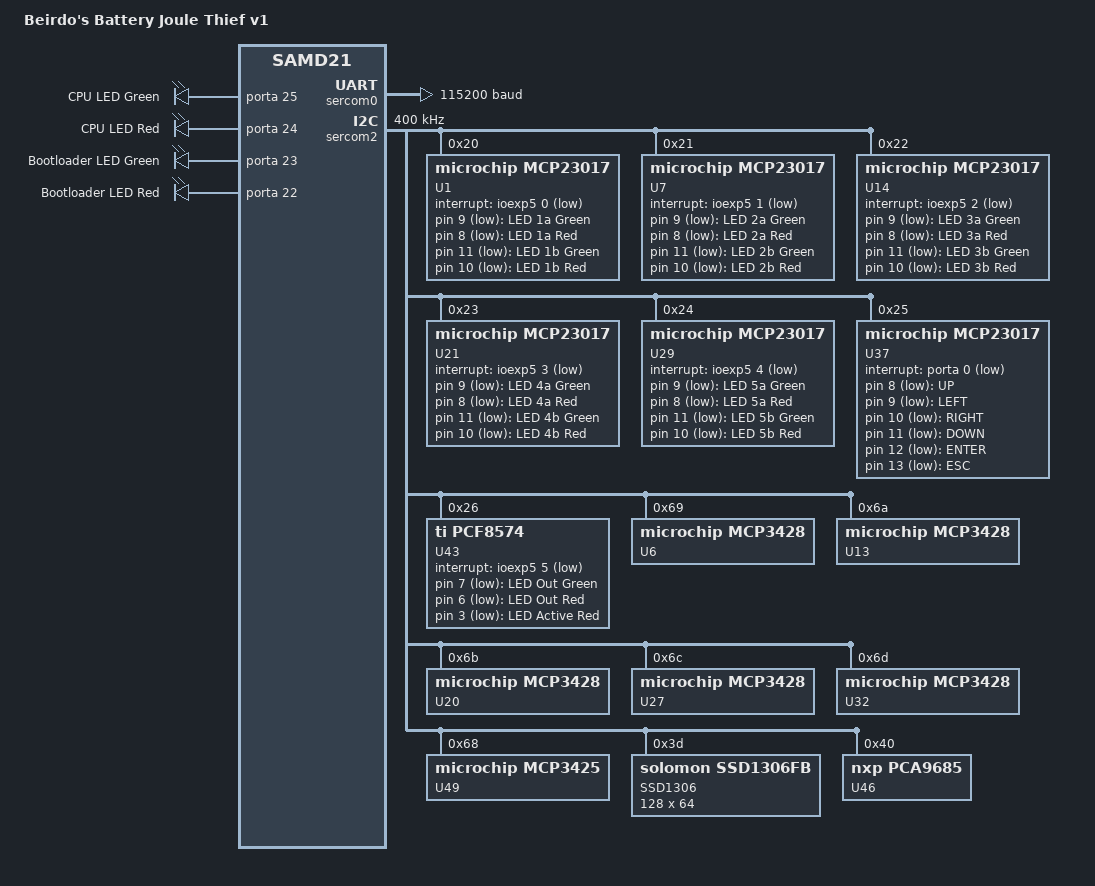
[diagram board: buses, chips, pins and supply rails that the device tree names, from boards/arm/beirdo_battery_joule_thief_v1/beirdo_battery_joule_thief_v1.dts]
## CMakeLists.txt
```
# SPDX-License-Identifier: Apache-2.0

set(BOARD beirdo_battery_joule_thief_v1)
set(ZEPHYR_EXTRA_MODULES ${CMAKE_SOURCE_DIR}/lib/zephyr-adafruit-ssd1306)

cmake_minimum_required(VERSION 3.13.1)
set(BOARD_ROOT ${CMAKE_CURRENT_LIST_DIR})
find_package(Zephyr REQUIRED HINTS $ENV{ZEPHYR_BASE})

project(beirdo-battery-joule-thief-v1-app)

include_directories(BEFORE SYSTEM include)

# Add your source file to the "app" target. This must come after
# find_package(Zephyr) which defines the target.

target_sources(app PRIVATE src/main.c)
target_sources(app PRIVATE src/gpios.c)
target_sources(app PRIVATE src/adcs.c)
target_sources(app PRIVATE src/charge-counters.c)
target_sources(app PRIVATE src/input-batteries.c)
target_sources(app PRIVATE src/charger.c)
target_sources(app PRIVATE src/display.c)
```

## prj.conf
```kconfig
CONFIG_BOARD_BEIRDO_BATTERY_JOULE_THIEF_V1=y
CONFIG_ADAFRUIT_SSD1306=y
CONFIG_SSD1306_ENABLE_CHARGE_PUMP=y
```

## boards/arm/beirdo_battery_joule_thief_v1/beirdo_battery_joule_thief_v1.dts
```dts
/*
 * Copyright (c) 2020 Gavin Hurlbut
 * SPDX-License-Identifier: Apache-2.0
 */

/dts-v1/;
#include <atmel/samd21.dtsi>

/ {
	model = "Beirdo's Battery Joule Thief v1";
	compatible = "beirdo,battery_joule_thief_v1", "atmel,samd21e16a", "atmel,samd21";

	chosen {
		zephyr,console = &sercom0;
		zephyr,shell-uart = &sercom0;
		zephyr,sram = &sram0;
		zephyr,flash = &flash0;
	};

	aliases {
		i2c-0 = &sercom2;
		led0 = &ledcpu;
	};

	leds {
		compatible = "gpio-leds";
		
		led_1ag {
			gpios = <&ioexp0 9 GPIO_ACTIVE_LOW>;
			label = "LED 1a Green";
		};

		led_1ar {
			gpios = <&ioexp0 8 GPIO_ACTIVE_LOW>;
			label = "LED 1a Red";
		};

		led_1bg {
			gpios = <&ioexp0 11 GPIO_ACTIVE_LOW>;
			label = "LED 1b Green";
		};

		led_1br {
			gpios = <&ioexp0 10 GPIO_ACTIVE_LOW>;
			label = "LED 1b Red";
		};

	
		led_2ag {
			gpios = <&ioexp1 9 GPIO_ACTIVE_LOW>;
			label = "LED 2a Green";
		};

		led_2ar {
			gpios = <&ioexp1 8 GPIO_ACTIVE_LOW>;
			label = "LED 2a Red";
		};

		led_2bg {
			gpios = <&ioexp1 11 GPIO_ACTIVE_LOW>;
			label = "LED 2b Green";
		};

		led_2br {
			gpios = <&ioexp1 10 GPIO_ACTIVE_LOW>;
			label = "LED 2b Red";
		};


		led_3ag {
			gpios = <&ioexp2 9 GPIO_ACTIVE_LOW>;
			label = "LED 3a Green";
		};

		led_3ar {
			gpios = <&ioexp2 8 GPIO_ACTIVE_LOW>;
			label = "LED 3a Red";
		};

		led_3bg {
			gpios = <&ioexp2 11 GPIO_ACTIVE_LOW>;
			label = "LED 3b Green";
		};

		led_3br {
			gpios = <&ioexp2 10 GPIO_ACTIVE_LOW>;
			label = "LED 3b Red";
		};

		
		led_4ag {
			gpios = <&ioexp3 9 GPIO_ACTIVE_LOW>;
			label = "LED 4a Green";
		};

		led_4ar {
			gpios = <&ioexp3 8 GPIO_ACTIVE_LOW>;
			label = "LED 4a Red";
		};

		led_4bg {
			gpios = <&ioexp3 11 GPIO_ACTIVE_LOW>;
			label = "LED 4b Green";
		};

		led_4br {
			gpios = <&ioexp3 10 GPIO_ACTIVE_LOW>;
			label = "LED 4b Red";
		};

		
		led_5ag {
			gpios = <&ioexp4 9 GPIO_ACTIVE_LOW>;
			label = "LED 5a Green";
		};

		led_5ar {
			gpios = <&ioexp4 8 GPIO_ACTIVE_LOW>;
			label = "LED 5a Red";
		};

		led_5bg {
			gpios = <&ioexp4 11 GPIO_ACTIVE_LOW>;
			label = "LED 5b Green";
		};

		led_5br {
			gpios = <&ioexp4 10 GPIO_ACTIVE_LOW>;
			label = "LED 5b Red";
		};


		led_og {
			gpios = <&ioexp6 7 GPIO_ACTIVE_LOW>;
			label = "LED Out Green";
		};

		led_or {
			gpios = <&ioexp6 6 GPIO_ACTIVE_LOW>;
			label = "LED Out Red";
		};
		
		led_active {
			gpios = <&ioexp6 3 GPIO_ACTIVE_LOW>;
			label = "LED Active Red";
		};
		
		ledcpu: led_cpug {
			gpios = <&porta 25 GPIO_ACTIVE_HIGH>;
			label = "CPU LED Green";
		};

		led_cpur {
			gpios = <&porta 24 GPIO_ACTIVE_HIGH>;
			label = "CPU LED Red";
		};

		led_bootg {
			gpios = <&porta 23 GPIO_ACTIVE_HIGH>;
			label = "Bootloader LED Green";
		};

		led_bootr {
			gpios = <&porta 22 GPIO_ACTIVE_HIGH>;
			label = "Bootloader LED Red";
		};


	};

	buttons {
		compatible = "gpio-keys";
		
		button_up {
			gpios = <&ioexp5 8 (GPIO_PULL_UP | GPIO_ACTIVE_LOW)>;
			label = "UP";
		};

		button_left {
			gpios = <&ioexp5 9 (GPIO_PULL_UP | GPIO_ACTIVE_LOW)>;
			label = "LEFT";
		};

		button_right {
			gpios = <&ioexp5 10 (GPIO_PULL_UP | GPIO_ACTIVE_LOW)>;
			label = "RIGHT";
		};

		button_down {
			gpios = <&ioexp5 11 (GPIO_PULL_UP | GPIO_ACTIVE_LOW)>;
			label = "DOWN";
		};

		button_enter {
			gpios = <&ioexp5 12 (GPIO_PULL_UP | GPIO_ACTIVE_LOW)>;
			label = "ENTER";
		};

		button_esc {
			gpios = <&ioexp5 13 (GPIO_PULL_UP | GPIO_ACTIVE_LOW)>;
			label = "ESC";
		};

	};
};

&cpu0 {
	clock-frequency = <48000000>;
};

&sram0 {
	reg = <0x20000000 0x4000>;
};

&flash0 {
	reg = <0 0x20000>;
};


&sercom0 {
        status = "okay";
        compatible = "atmel,sam0-uart";
        current-speed = <115200>;
        rxpo = <1>;
        txpo = <0>;
        hw-flow-control;
};

&sercom2 {
	status = "okay";
	compatible = "atmel,sam0-i2c";
	clock-frequency = <I2C_BITRATE_FAST>;
	#address-cells = <1>;
	#size-cells = <0>;
	
	ioexp0: mcp23017@20 {
		status = "okay";
		compatible = "microchip,mcp23017";
		label = "U1";
		reg = <0x20>;
		gpio-controller;
		#gpio-cells = <2>;
		interrupt-gpios = <&ioexp5 0 GPIO_ACTIVE_LOW>;
		ngpios = <16>;
		gpio-reserved-ranges = <4 4>, <14 2>;
	};

	ioexp1: mcp23017@21 {
		status = "okay";
		compatible = "microchip,mcp23017";
		label = "U7";
		reg = <0x21>;
		gpio-controller;
		#gpio-cells = <2>;
		interrupt-gpios = <&ioexp5 1 GPIO_ACTIVE_LOW>;
		ngpios = <16>;
		gpio-reserved-ranges = <4 4>, <14 2>;
	};

	ioexp2: mcp23017@22 {
		status = "okay";
		compatible = "microchip,mcp23017";
		label = "U14";
		reg = <0x22>;
		gpio-controller;
		#gpio-cells = <2>;
		interrupt-gpios = <&ioexp5 2 GPIO_ACTIVE_LOW>;
		ngpios = <16>;
		gpio-reserved-ranges = <4 4>, <14 2>;
	};

	ioexp3: mcp23017@23 {
		status = "okay";
		compatible = "microchip,mcp23017";
		label = "U21";
		reg = <0x23>;
		gpio-controller;
		#gpio-cells = <2>;
		interrupt-gpios = <&ioexp5 3 GPIO_ACTIVE_LOW>;
		ngpios = <16>;
		gpio-reserved-ranges = <4 4>, <14 2>;
	};

	ioexp4: mcp23017@24 {
		status = "okay";
		compatible = "microchip,mcp23017";
		label = "U29";
		reg = <0x24>;
		gpio-controller;
		#gpio-cells = <2>;
		interrupt-gpios = <&ioexp5 4 GPIO_ACTIVE_LOW>;
		ngpios = <16>;
		gpio-reserved-ranges = <4 4>, <14 2>;
	};

	ioexp5: mcp23017@25 {
		status = "okay";
		compatible = "microchip,mcp23017";
		label = "U37";
		reg = <0x25>;
		gpio-controller;
		#gpio-cells = <2>;
		interrupt-gpios = <&porta 0 GPIO_ACTIVE_LOW>;
		ngpios = <16>;
		gpio-reserved-ranges = <6 2>, <14 2>;
	};

	ioexp6: pcf8574@26 {
		status = "okay";
		compatible = "ti,pcf8574";
		label = "U43";
		reg = <0x26>;
		gpio-controller;
		#gpio-cells = <2>;
		interrupt-gpios = <&ioexp5 5 GPIO_ACTIVE_LOW>;
		ngpios = <8>;
	};

	adc0: mcp3428@69 {
		status = "okay";
		label = "U6";
		compatible = "microchip,mcp3428";
		#io-channel-cells = <1>;
		reg = <0x69>;
	};
	
	adc1: mcp3428@6a {
		status = "okay";
		label = "U13";
		compatible = "microchip,mcp3428";
		#io-channel-cells = <1>;
		reg = <0x6a>;
	};
	
	adc2: mcp3428@6b {
		status = "okay";
		label = "U20";
		compatible = "microchip,mcp3428";
		#io-channel-cells = <1>;
		reg = <0x6b>;
	};
	
	adc3: mcp3428@6c {
		status = "okay";
		label = "U27";
		compatible = "microchip,mcp3428";
		#io-channel-cells = <1>;
		reg = <0x6c>;
	};
	
	adc4: mcp3428@6d {
		status = "okay";
		label = "U32";
		compatible = "microchip,mcp3428";
		#io-channel-cells = <1>;
		reg = <0x6d>;
	};
	
	adc5: mcp3425@68 {
		status = "okay";
		label = "U49";
		compatible = "microchip,mcp3425";
		#io-channel-cells = <1>;
		reg = <0x68>;
	};
	
	display: ssd1306@3d {
		status = "okay";
		compatible = "solomon,ssd1306fb";
		reg = <0x3d>;
        label = "SSD1306";
	    width = <128>;
        height = <64>;
        segment-offset = <2>;
        page-offset = <0>;
        display-offset = <0>;
        multiplex-ratio = <63>;
        segment-remap;
        com-invdir;
        prechargep = <0x22>;
	};
	
	pwm: pca9685@40 {
		status = "okay";
		compatible = "nxp,pca9685";
		reg = <0x40>;
		label = "U46";
		prescaler = < 0x05 >;	/* approx 1kHz period */
		#pwm-cells = <2>;
	};
};
```

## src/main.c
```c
/*
 * Copyright (c) 2020 Gavin Hurlbut
 *
 * SPDX-License-Identifier: Apache-2.0
 */

#include <zephyr.h>
#include <kernel.h>

#include "app-gpios.h"
#include "app-adcs.h"
#include "app-charge-counters.h"
#include "app-input-batteries.h"
#include "app-charger.h"
#include "app-display.h"


bool initialized;
bool cpu_led_on;
struct k_delayed_work led_pulse_worker;

void main_failed(void);
void led_pulse_start(void);
static void led_pulse(struct k_work *work);

void main(void)
{
    int ret;
    
    initialized = false;

    ret = gpios_init();
    if (ret != 0) {
        return main_failed();
    }

    /* Turn off the LEDs from the bootloader */
    write_io_pin(LEDBootG, false);
    write_io_pin(LEDBootR, false);
    
    /* Turn on the LED for the CPU */
    cpu_led_on = true;
    write_io_pin(LEDCPUg, true);
    write_io_pin(LEDCPUr, false);

    ret = adcs_init();
    if (ret != 0) {
        return main_failed();
    }
    
    ret = charge_counters_init();
    if (ret != 0) {
        return main_failed();
    }
    
    ret = input_batteries_init();
    if (ret != 0) {
        return main_failed();
    }
    
    ret = charger_init();
    if (ret != 0) {
        return main_failed();
    }

    ret = display_init();
    if (ret != 0) {
        return main_failed();
    }

    initialized = true;
    
    /* Start the CPU LED pulsing */
    led_pulse_start();

    /* Start ADC readings once a second (it reschedules itself) */
    adcs_start();
    
    /* Start the charge counters - once a second, reschedules itself */
    charge_counters_start();

    /* Start the display update work item (it gets scheduled by buttons or 
     * ADC complete) 
     */
    display_start();

    /* Start loop */
    while (1) {
        /* Check if batteries are depleted, disable those that are */
        
        /* If the enables have changed, reprogram the PWM phases */
        
        /* Sleep for 100ms */
        k_msleep(100);
    }
}

void main_failed(void)
{
    write_io_pin(LEDCPUg, false);
    write_io_pin(LEDCPUr, true);
}

static void led_pulse(struct k_work *work)
{
    if (initialized) {
        cpu_led_on = !cpu_led_on;
        write_io_pin(LEDCPUg, cpu_led_on);
        write_io_pin(LEDCPUr, false);
        k_delayed_work_submit(&led_pulse_worker, K_MSEC(500));
    }
}


void led_pulse_start(void)
{
	k_delayed_work_init(&led_pulse_worker, led_pulse);
    k_delayed_work_submit(&led_pulse_worker, K_MSEC(500));
}
```

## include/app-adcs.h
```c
/*
 * Copyright (c) 2020 Gavin Hurlbut
 *
 * SPDX-License-Identifier: Apache-2.0
 */

#ifndef __app_adcs_h_
#define __app_adcs_h_

#include <zephyr.h>

#include <zephyr.h>
#include <device.h>
#include <devicetree.h>
#include <drivers/adc.h>
#include <kernel.h>


struct adc_inputs_t {
    char *name;
    uint16_t raw_value;
    uint16_t value_mv;
    uint16_t reference_mv;
    struct device **pdev;
    struct adc_channel_cfg config;
};

#define FOR_ALL_ADCS(preamble, x, postamble)    \
preamble                                        \
    x(VBATT1a, adc[0], 0, 2048)                 \
    x(VBATT1b, adc[0], 1, 2048)                 \
    x(VOUT1, adc[0], 2, 5059)                   \
                                                \
    x(VBATT2a, adc[1], 0, 2048)                 \
    x(VBATT2b, adc[1], 1, 3480)                 \
    x(VOUT2, adc[1], 2, 5059)                   \
                                                \
    x(VBATT3a, adc[2], 0, 2048)                 \
    x(VBATT3b, adc[2], 1, 3480)                 \
    x(VOUT3, adc[2], 2, 5059)                   \
                                                \
    x(VBATT4a, adc[3], 0, 2048)                 \
    x(VBATT4b, adc[3], 1, 3480)                 \
    x(VOUT4, adc[3], 2, 5059)                   \
                                                \
    x(VBATT5a, adc[4], 0, 12268)                \
    x(VBATT5b, adc[4], 1, 12268)                \
    x(VOUT5, adc[4], 2, 5059)                   \
                                                \
    x(VOUT, adc[5], 0, 5059)                    \
postamble


#define ADC_ENUM(label, ...) label,

FOR_ALL_ADCS(enum adc_input_names_t {, ADC_ENUM, };)


extern struct adc_inputs_t adc_inputs[];
extern uint16_t adc_input_count;

int adcs_init(void);
void adcs_start(void);


#endif /* __app_adcs_h_ */
```

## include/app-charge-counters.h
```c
/*
 * Copyright (c) 2020 Gavin Hurlbut
 *
 * SPDX-License-Identifier: Apache-2.0
 */

#ifndef __app_charge_counters_h_
#define __app_charge_counters_h_

#include <zephyr.h>
#include <kernel.h>
#include "app-gpios.h"
#include "app-devices.h"

struct charge_counter_t {
    int32_t raw_count;
    int32_t mAh;
    uint64_t start_time;
    enum io_names_t polarity;
    enum io_names_t interrupt;
    enum io_names_t shutdown;
    struct k_delayed_work worker;
};


int charge_counters_init(void);
void charge_counters_start(void);

extern struct charge_counter_t charge_counter[CHARGE_COUNTER_COUNT];


#endif /* __app_charge_counters_h_ */
```

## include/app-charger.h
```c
/*
 * Copyright (c) 2020 Gavin Hurlbut
 *
 * SPDX-License-Identifier: Apache-2.0
 */

#ifndef __app_charger_h_
#define __app_charger_h_

#include <zephyr.h>

int charger_init(void);
uint8_t approximate_output_battery_level(void);
bool charger_enabled(void);
void charger_set_enabled(bool enabled);

#endif /* __app_charger_h_ */
```

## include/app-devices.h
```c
/*
 * Copyright (c) 2020 Gavin Hurlbut
 *
 * SPDX-License-Identifier: Apache-2.0
 */

#ifndef __app_devices_h_
#define __app_devices_h_

#include <zephyr.h>
#include <device.h>

#define IOEXP_COUNT 7
#define ADC_COUNT   6
#define CHARGE_COUNTER_COUNT    6

extern const struct device *porta;
extern const struct device *ioexp[IOEXP_COUNT];
extern const struct device *adc[ADC_COUNT];
extern const struct device *display;
extern const struct device *pwm;

#endif /* __app_devices_h_ */
```

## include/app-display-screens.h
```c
/*
 * Copyright (c) 2020 Gavin Hurlbut
 *
 * SPDX-License-Identifier: Apache-2.0
 */

#ifndef __app_display_screens_h_
#define __app_display_screens_h_

typedef uint8_t *(*item_dynamic)(int);

struct display_menu_item_t {
    int x;
    int y;
    int w;
    int size;
    item_dynamic text;
};

typedef void (*menu_action)(int);

struct display_menu_t {
    menu_action display_menu;
    const struct display_menu_item_t *items;
    int item_count;
    menu_action up;
    menu_action left;
    menu_action right;
    menu_action down;
    menu_action enter;
};

struct display_menu_ram_t {
    int index_top;
    int index_current;
};

struct display_item_t {
    int x;
    int y;
    int size;
    uint8_t *static_text;
    item_dynamic dynamic_text;
};

struct display_page_t {
    bool display_logo;
    const struct display_menu_t *menu;
    const struct display_item_t *items;
    int item_count;
    int index_esc;
    int index_up;
    int index_left;
    int index_right;
    int index_down;
    int index_enter;
    int index_menu;
};

#endif /* __app_display_screens_h_ */
```

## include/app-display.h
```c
/*
 * Copyright (c) 2020 Gavin Hurlbut
 *
 * SPDX-License-Identifier: Apache-2.0
 */

#ifndef __app_display_h_
#define __app_display_h_

#include <zephyr.h>

int display_init(void);
void display_start(void);

#endif /* __app_display_h_ */
```

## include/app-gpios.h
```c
/*
 * Copyright (c) 2020 Gavin Hurlbut
 *
 * SPDX-License-Identifier: Apache-2.0
 */

#ifndef __app_gpios_h_
#define __app_gpios_h_

#include <zephyr.h>
#include <device.h>
#include <devicetree.h>
#include <drivers/gpio.h>
#include <kernel.h>


struct io_pins_t {
    char *name;
    bool value;
    struct device **pdev;
    int pin;
    uint32_t io_flags;
    bool is_active_low;
    uint32_t interrupt_flags;
    struct gpio_callback callback;
    gpio_callback_handler_t handler;
    uint64_t expiry;
};



#define FOR_ALL_IOS(preamble, x, postamble)                                 \
preamble                                                                    \
    x(EXT_nINT, porta, 0, GPIO_INPUT, true, 0, GPIO_INT_EDGE_FALLING)       \
    x(nOE, porta, 1, GPIO_OUTPUT_HIGH, true, 0, 0x00)                       \
    x(LEDBootR, porta, 23, GPIO_OUTPUT_ACTIVE, false, 0, 0x00)              \
    x(LEDBootG, porta, 22, GPIO_OUTPUT_ACTIVE, false, 0, 0x00)              \
    x(LEDCPUg, porta, 25, GPIO_OUTPUT_ACTIVE, false, 0, 0x00)               \
    x(LEDCPUr, porta, 24, GPIO_OUTPUT_ACTIVE, false, 0, 0x00)               \
                                                                            \
    x(nSD1, ioexp[0], 0, GPIO_OUTPUT_HIGH, true, 0, 0x00)                   \
    x(INT1, ioexp[0], 1, GPIO_INPUT, true, 1, GPIO_INT_EDGE_FALLING)        \
    x(POL1, ioexp[0], 2, GPIO_INPUT, false, 0, 0x00)                        \
    x(PWRGD1, ioexp[0], 3, GPIO_INPUT, false, 1, GPIO_INT_EDGE_BOTH)        \
    x(LED1ar, ioexp[0], 8, GPIO_OUTPUT_ACTIVE, false, 0, 0x00)              \
    x(LED1ag, ioexp[0], 9, GPIO_OUTPUT_ACTIVE, false, 0, 0x00)              \
    x(LED1br, ioexp[0], 10, GPIO_OUTPUT_ACTIVE, false, 0, 0x00)             \
    x(LED1bg, ioexp[0], 11, GPIO_OUTPUT_ACTIVE, false, 0, 0x00)             \
    x(BATSEL1a, ioexp[0], 12, GPIO_OUTPUT_ACTIVE, false, 0, 0x00)           \
    x(BATSEL1b, ioexp[0], 13, GPIO_OUTPUT_ACTIVE, false, 0, 0x00)           \
                                                                            \
    x(nSD2, ioexp[1], 0, GPIO_OUTPUT_HIGH, true, 0, 0x00)                   \
    x(INT2, ioexp[1], 1, GPIO_INPUT, true, 1, GPIO_INT_EDGE_FALLING)        \
    x(POL2, ioexp[1], 2, GPIO_INPUT, false, 0, 0x00)                        \
    x(PWRGD2, ioexp[1], 3, GPIO_INPUT, false, 1, GPIO_INT_EDGE_BOTH)        \
    x(LED2ar, ioexp[1], 8, GPIO_OUTPUT_ACTIVE, false, 0, 0x00)              \
    x(LED2ag, ioexp[1], 9, GPIO_OUTPUT_ACTIVE, false, 0, 0x00)              \
    x(LED2br, ioexp[1], 10, GPIO_OUTPUT_ACTIVE, false, 0, 0x00)             \
    x(LED2bg, ioexp[1], 11, GPIO_OUTPUT_ACTIVE, false, 0, 0x00)             \
    x(BATSEL2a, ioexp[1], 12, GPIO_OUTPUT_ACTIVE, false, 0, 0x00)           \
    x(BATSEL2b, ioexp[1], 13, GPIO_OUTPUT_ACTIVE, false, 0, 0x00)           \
                                                                            \
    x(nSD3, ioexp[2], 0, GPIO_OUTPUT_HIGH, true, 0, 0x00)                   \
    x(INT3, ioexp[2], 1, GPIO_INPUT, true, 1, GPIO_INT_EDGE_FALLING)        \
    x(POL3, ioexp[2], 2, GPIO_INPUT, false, 0, 0x00)                        \
    x(PWRGD3, ioexp[2], 3, GPIO_INPUT, false, 1, GPIO_INT_EDGE_BOTH)        \
    x(LED3ar, ioexp[2], 8, GPIO_OUTPUT_ACTIVE, false, 0, 0x00)              \
    x(LED3ag, ioexp[2], 9, GPIO_OUTPUT_ACTIVE, false, 0, 0x00)              \
    x(LED3br, ioexp[2], 10, GPIO_OUTPUT_ACTIVE, false, 0, 0x00)             \
    x(LED3bg, ioexp[2], 11, GPIO_OUTPUT_ACTIVE, false, 0, 0x00)             \
    x(BATSEL3a, ioexp[2], 12, GPIO_OUTPUT_ACTIVE, false, 0, 0x00)           \
    x(BATSEL3b, ioexp[2], 13, GPIO_OUTPUT_ACTIVE, false, 0, 0x00)           \
                                                                            \
    x(nSD4, ioexp[3], 0, GPIO_OUTPUT_HIGH, true, 0, 0x00)                   \
    x(INT4, ioexp[3], 1, GPIO_INPUT, true, 1, GPIO_INT_EDGE_FALLING)        \
    x(POL4, ioexp[3], 2, GPIO_INPUT, false, 0, 0x00)                        \
    x(PWRGD4, ioexp[3], 3, GPIO_INPUT, false, 1, GPIO_INT_EDGE_BOTH)        \
    x(LED4ar, ioexp[3], 8, GPIO_OUTPUT_ACTIVE, false, 0, 0x00)              \
    x(LED4ag, ioexp[3], 9, GPIO_OUTPUT_ACTIVE, false, 0, 0x00)              \
    x(LED4br, ioexp[3], 10, GPIO_OUTPUT_ACTIVE, false, 0, 0x00)             \
    x(LED4bg, ioexp[3], 11, GPIO_OUTPUT_ACTIVE, false, 0, 0x00)             \
    x(BATSEL4a, ioexp[3], 12, GPIO_OUTPUT_ACTIVE, false, 0, 0x00)           \
    x(BATSEL4b, ioexp[3], 13, GPIO_OUTPUT_ACTIVE, false, 0, 0x00)           \
                                                                            \
    x(nSD5, ioexp[4], 0, GPIO_OUTPUT_HIGH, true, 0, 0x00)                   \
    x(INT5, ioexp[4], 1, GPIO_INPUT, true, 1, GPIO_INT_EDGE_FALLING)        \
    x(POL5, ioexp[4], 2, GPIO_INPUT, false, 0, 0x00)                        \
    x(PWRGD5, ioexp[4], 3, GPIO_INPUT, false, 1, GPIO_INT_EDGE_BOTH)        \
    x(LED5ar, ioexp[4], 8, GPIO_OUTPUT_ACTIVE, false, 0, 0x00)              \
    x(LED5ag, ioexp[4], 9, GPIO_OUTPUT_ACTIVE, false, 0, 0x00)              \
    x(LED5br, ioexp[4], 10, GPIO_OUTPUT_ACTIVE, false, 0, 0x00)             \
    x(LED5bg, ioexp[4], 11, GPIO_OUTPUT_ACTIVE, false, 0, 0x00)             \
    x(BATSEL5a, ioexp[4], 12, GPIO_OUTPUT_ACTIVE, false, 0, 0x00)           \
    x(BATSEL5b, ioexp[4], 13, GPIO_OUTPUT_ACTIVE, false, 0, 0x00)           \
                                                                            \
    x(BATT1_INT, ioexp[5], 0, GPIO_INPUT, true, 0, GPIO_INT_EDGE_FALLING)   \
    x(BATT2_INT, ioexp[5], 1, GPIO_INPUT, true, 0, GPIO_INT_EDGE_FALLING)   \
    x(BATT3_INT, ioexp[5], 2, GPIO_INPUT, true, 0, GPIO_INT_EDGE_FALLING)   \
    x(BATT4_INT, ioexp[5], 3, GPIO_INPUT, true, 0, GPIO_INT_EDGE_FALLING)   \
    x(BATT5_INT, ioexp[5], 4, GPIO_INPUT, true, 0, GPIO_INT_EDGE_FALLING)   \
    x(OUT_INT, ioexp[5], 5, GPIO_INPUT, true, 0, GPIO_INT_EDGE_FALLING)     \
    x(UP, ioexp[5], 8, GPIO_INPUT, true, 1, GPIO_INT_EDGE_FALLING)          \
    x(LEFT, ioexp[5], 9, GPIO_INPUT, true, 1, GPIO_INT_EDGE_FALLING)        \
    x(RIGHT, ioexp[5], 10, GPIO_INPUT, true, 1, GPIO_INT_EDGE_FALLING)      \
    x(DOWN, ioexp[5], 11, GPIO_INPUT, true, 1, GPIO_INT_EDGE_FALLING)       \
    x(ENTER, ioexp[5], 12, GPIO_INPUT, true, 1, GPIO_INT_EDGE_FALLING)      \
    x(ESC, ioexp[5], 13, GPIO_INPUT, true, 1, GPIO_INT_EDGE_FALLING)        \
                                                                            \
    x(nSDO, ioexp[6], 0, GPIO_OUTPUT_HIGH, true, 0, 0x00)                   \
    x(INTO, ioexp[6], 1, GPIO_INPUT, true, 1, GPIO_INT_EDGE_FALLING)        \
    x(POLO, ioexp[6], 2, GPIO_INPUT, false, 0, 0x00)                        \
    x(LEDActive, ioexp[6], 3, GPIO_OUTPUT_ACTIVE, false, 0, 0x00)           \
    x(nSTANDBY, ioexp[6], 8, GPIO_INPUT, true, 1, GPIO_INT_EDGE_BOTH)       \
    x(nCHARGE, ioexp[6], 9, GPIO_INPUT, true, 1, GPIO_INT_EDGE_BOTH)        \
    x(LEDOr, ioexp[6], 10, GPIO_OUTPUT_ACTIVE, false, 0, 0x00)              \
    x(LEDOg, ioexp[6], 11, GPIO_OUTPUT_ACTIVE, false, 0, 0x00)              \
postamble

#define IO_ENUM(label, ...) label,

FOR_ALL_IOS(enum io_names_t {, IO_ENUM, };)


extern struct io_pins_t io_pins[];
extern uint16_t io_count;

#define IS_INPUT(x)     ((io_pins[x].io_flags & GPIO_INPUT) == GPIO_INPUT)
#define IS_OUTPUT(x)    ((io_pins[x].io_flags & GPIO_OUTPUT) == GPIO_OUTPUT)

void write_io_pin(enum io_names_t io_name, bool value);
int read_io_pin(enum io_names_t io_name, bool *outval);
int gpios_init(void);

#endif /* __app_gpios_h_ */
```

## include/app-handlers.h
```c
/*
 * Copyright (c) 2020 Gavin Hurlbut
 *
 * SPDX-License-Identifier: Apache-2.0
 */

#ifndef __app_handlers_h_
#define __app_handlers_h_

#include <zephyr.h>
#include "app-gpios.h"


void handler_charge_counter(enum io_names_t pin_name);
void handler_power_good(enum io_names_t pin_name);
void handler_charger(enum io_names_t pin_name);
void handler_button(enum io_names_t pin_name);


#endif /* __app_handlers_h_ */
```

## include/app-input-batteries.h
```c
/*
 * Copyright (c) 2020 Gavin Hurlbut
 *
 * SPDX-License-Identifier: Apache-2.0
 */

#ifndef __app_input_batteries_h_
#define __app_input_batteries_h_

#include <zephyr.h>
#include <kernel.h>
#include "app-gpios.h"
#include "app-adcs.h"


struct battery_type_t {
    char *name;
    uint16_t max_voltage;
    uint16_t min_voltage;
};

struct battery_worker_t {
    char *name;
    enum adc_input_names_t signal;
    enum io_names_t select;
    enum io_names_t green;
    enum io_names_t red;
    enum io_names_t shutdown;
    uint8_t channel;
    bool power_good;
    bool enabled;
    struct k_work led_worker;
    struct k_work pwm_worker;
    int battery_type_index;
    struct battery_type_t battery_type;
    uint32_t battery_choice_bits;
};


#define FOR_ALL_BAT_TYPES(preamble, x, postamble)   \
preamble                                            \
    x(ZincCarbon_AA, 1500, 750)                     \
    x(Alkaline_AA, 1500, 850)                       \
    x(NiCd_AA, 1200, 900)                           \
    x(NiMH_AA, 1200, 900)                           \
    x(ZincCarbon_AAA, 1500, 750)                    \
    x(Alkaline_AAA, 1500, 850)                      \
    x(NiCd_AAA, 1200, 900)                          \
    x(NiMH_AAA, 1200, 900)                          \
    x(External_3V3, 3300, 850)                      \
    x(CR2032, 3000, 1600)                           \
    x(CR123A, 3000, 1600)                           \
    x(External_12V, 12000, 1500)                    \
    x(ZincCarbon_9V, 9000, 4500)                    \
    x(Alkaline_9V, 9000, 5100)                      \
    x(NiCd_9V, 7200, 5400)                          \
    x(NiMH_9V, 7200, 5400)                          \
    x(Lithium_9V, 9000, 4800)                       \
    x(LiIon_18650, 4200, 3000)                      \
postamble



#define BAT_CHOICE_AA   (BIT(ZincCarbon_AA) | BIT(Alkaline_AA) | BIT(NiCd_AA) | BIT(NiMH_AA))
#define BAT_CHOICE_AAA  (BIT(ZincCarbon_AAA) | BIT(Alkaline_AAA) | BIT(NiCd_AAA) | BIT(NiMH_AAA))
#define BAT_CHOICE_9V   (BIT(ZincCarbon_9V) | BIT(Alkaline_9V) | BIT(NiCd_9V) | BIT(NiMH_9V) | BIT(Lithium_9V))


#define FOR_ALL_BATS(preamble, x, postamble)                            \
preamble                                                                \
    x(BATT1a, BATSEL1a, LED1ag, LED1ar, nSD1, 0, BAT_CHOICE_AA)         \
    x(BATT1b, BATSEL1b, LED1bg, LED1br, nSD1, 0, BAT_CHOICE_AAA)        \
    x(BATT2a, BATSEL2a, LED2ag, LED2ar, nSD2, 1, BAT_CHOICE_AA)         \
    x(BATT2b, BATSEL2b, LED2bg, LED2br, nSD2, 1, BIT(External_3V3))     \
    x(BATT3a, BATSEL3a, LED3ag, LED3ar, nSD3, 2, BAT_CHOICE_AA)         \
    x(BATT3b, BATSEL3b, LED3bg, LED3br, nSD3, 2, BIT(CR2032))           \
    x(BATT4a, BATSEL4a, LED4ag, LED4ar, nSD4, 3, BAT_CHOICE_AA)         \
    x(BATT4b, BATSEL4b, LED4bg, LED4br, nSD4, 3, BIT(CR123A))           \
    x(BATT5a, BATSEL5a, LED5ag, LED5ar, nSD5, 4, BIT(External_12V))     \
    x(BATT5b, BATSEL5b, LED5bg, LED5br, nSD5, 4, BAT_CHOICE_9V)         \
postamble

#define BAT_ENUM(label, ...) label,
FOR_ALL_BATS(enum battery_t {, BAT_ENUM, };)

FOR_ALL_BAT_TYPES(enum battery_name_t {, BAT_ENUM, };)

extern struct battery_worker_t battery_worker[];
extern size_t battery_count;
extern const struct battery_type_t battery_types[];
extern size_t battery_type_count;

int input_batteries_init(void);
uint8_t approximate_battery_level(int battery_index);
bool battery_enabled(int battery_index);
void battery_set_enabled(int battery_index, bool enabled);


#endif /* __app_input_batteries_h_ */
```

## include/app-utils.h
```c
/*
 * Copyright (c) 2020 Gavin Hurlbut
 *
 * SPDX-License-Identifier: Apache-2.0
 */

#ifndef __app_utils_h_
#define __app_utils_h_

#include <zephyr.h>

#define NELEMENTS(x)    ((sizeof((x)) / sizeof((x)[0])))

#define min(x, y) ((x) < (y) ? (x) : (y))
#define max(x, y) ((x) > (y) ? (x) : (y))
#define clamp(x, y, z) min(max((x), (y)), (z))
#define _abs(x) ((x) < 0 ? -(x) : (x))


#endif /* __app_utils_h_ */
```

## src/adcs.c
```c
/*
 * Copyright (c) 2020 Gavin Hurlbut
 *
 * SPDX-License-Identifier: Apache-2.0
 */
 
#include <zephyr.h>
#include <device.h>
#include <devicetree.h>
#include <drivers/adc.h>
#include <kernel.h>

#include "app-devices.h"
#include "app-utils.h"
#include "app-adcs.h"

#define ADC_INST(x)     adc[x] = device_get_binding(DT_LABEL(DT_NODELABEL(adc##x)))

const struct device *adc[ADC_COUNT];


#define ADC_ENTRY(label, dev, channel, reference_mv)                        \
    {#label, 0x0000, 0x0000, reference_mv, (struct device **)(&dev),        \
        {ADC_GAIN_1, ADC_REF_INTERNAL, ADC_ACQ_TIME_DEFAULT, channel, 1,}},


FOR_ALL_ADCS(struct adc_inputs_t adc_inputs[] = {, ADC_ENTRY, };)


uint16_t adc_input_count = NELEMENTS(adc_inputs);


struct adc_work_t {
    const struct device *dev;
    struct k_delayed_work worker;
    uint8_t channel_mask;
    enum adc_input_names_t inputs[4];
    struct adc_sequence sequence;
    uint16_t buffer[4];
};

struct adc_work_t adc_worker[ADC_COUNT];

static void adc_read_worker(struct k_work *work)
{
	struct adc_work_t * adc_worker = CONTAINER_OF(
		work, struct adc_work_t, worker);

    const struct device *dev = adc_worker->dev;
    struct adc_sequence *seq = &adc_worker->sequence;
    uint8_t channel_mask = adc_worker->channel_mask;
    uint16_t *buffer = adc_worker->buffer;
    size_t buflen = sizeof(adc_worker->buffer);
    enum adc_input_names_t input_name;
    struct adc_inputs_t *adc_input;
    uint32_t value;
    
    seq->options = NULL;
    seq->channels = channel_mask;
    seq->buffer = buffer;
    seq->buffer_size = buflen;
    seq->resolution = 16;
    seq->oversampling = 0;
    seq->calibrate = false;
    
    int ret = adc_read(dev, (const struct adc_sequence *)seq);
    if (ret == 0) {
        for(int i = 0; i < 4; i++) {
            if ((channel_mask & BIT(i)) != 0x00) {
                input_name = adc_worker->inputs[i];
                adc_input = &adc_inputs[input_name];
                value = buffer[i];
                adc_input->raw_value = value;
                ret = adc_raw_to_millivolts(adc_input->reference_mv,
                        adc_input->config.gain, 16, &value);
                if (ret != 0) {
                    value = 0x0000;
                }
                adc_input->value_mv = value;
            }
        }        
    }

    /* Schedule yourself for 1s out */
    k_delayed_work_submit((struct k_delayed_work *)work, K_MSEC(1000));
}


int adcs_init(void)
{
    FOR_EACH(ADC_INST, (;), 0, 1, 2, 3, 4, 5);
 
    /* Initialize the ADC workers */
    for (int i = 0; i < ADC_COUNT; i++) {
        struct adc_work_t *worker = &adc_worker[i];

        worker->dev = adc[i];
    	k_delayed_work_init(&worker->worker, adc_read_worker);
    	worker->channel_mask = 0;
    }
    
    /* Initialize all ADC channels */
    for (int i = 0; i < adc_input_count; i++) {
        struct adc_inputs_t *adc_input = &adc_inputs[i];
        int index = *adc_input->pdev - adc[0];
        int channel = adc_input->config.channel_id;
        
        int ret = adc_channel_setup(*adc_input->pdev, &adc_input->config);
        if (ret != 0) {
            return ret;
        }
        
        adc_worker[index].channel_mask |= BIT(channel);
        adc_worker[index].inputs[channel] = (enum adc_input_names_t)i;
    }

    return 0;
}

void adcs_start(void)
{
    for (int i = 0; i < ADC_COUNT; i++) {
        k_delayed_work_submit(&adc_worker[i].worker, K_MSEC(1000));
    }
}
```

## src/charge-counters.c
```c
/*
 * Copyright (c) 2020 Gavin Hurlbut
 *
 * SPDX-License-Identifier: Apache-2.0
 */

#include <zephyr.h>
#include <device.h>
#include <devicetree.h>
#include <drivers/gpio.h>
#include <kernel.h>

#include "app-gpios.h"
#include "app-devices.h"
#include "app-handlers.h"
#include "app-charge-counters.h"


struct charge_counter_t charge_counter[CHARGE_COUNTER_COUNT] = {
    {0, 0, 0, POL1, INT1, nSD1, {}},
    {0, 0, 0, POL2, INT2, nSD2, {}},
    {0, 0, 0, POL3, INT3, nSD3, {}},
    {0, 0, 0, POL4, INT4, nSD4, {}},
    {0, 0, 0, POL5, INT5, nSD5, {}},
    {0, 0, 0, POLO, INTO, nSDO, {}},
};


static void charge_update_worker(struct k_work *work)
{
	struct charge_counter_t * counter = CONTAINER_OF(
		work, struct charge_counter_t, worker);
	bool shutdown;
	int32_t raw_count;
	int32_t mAh;

    int ret = read_io_pin(counter->shutdown, &shutdown);
    if (ret != 0) {
        goto done;
    }
    
    if (shutdown) {
        goto done;
    }
    
    raw_count = counter->raw_count;
    
    /*
     * 1 interrupt = 1/(Gvh * Rsense) Coulombs
     *   Gvh = 32.55 (typ)
     *   Rsense = 0.1
     *
     * so.  coulombs = count / 3.255
     * 1 Ah = 3600 coulombs
     * 1 mAh = 3.6 coulombs
     *
     * so mAh = coulombs / 3.6
     *        = count / 11.718
     */
     
    mAh = (raw_count * 1000) / 11718;
    counter->mAh = mAh;

done:
    /* Schedule yourself for 1s out */
    k_delayed_work_submit((struct k_delayed_work *)work, K_MSEC(1000));
}


int charge_counters_init(void)
{
        
    /* Initialize the charge counter workers */
    for (int i = 0; i < CHARGE_COUNTER_COUNT; i++) {
        struct charge_counter_t *counter = &charge_counter[i];
        
    	k_delayed_work_init(&counter->worker, charge_update_worker);
    }
    return 0;
}


void charge_counters_start(void)
{
    for (int i = 0; i < CHARGE_COUNTER_COUNT; i++) {
        k_delayed_work_submit(&charge_counter[i].worker, K_MSEC(1000));
    }
}


void handler_charge_counter(enum io_names_t pin_name)
{
    struct io_pins_t * io_pin = &io_pins[pin_name];
    int index = *io_pin->pdev - ioexp[0];
    if (index == 6) {
        index = 5;
    }
    struct charge_counter_t *counter = &charge_counter[index];
    bool polarity;
    
    int ret = read_io_pin(counter->polarity, &polarity);
    if (ret != 0) {
        return;
    }
    
    counter->raw_count += (polarity ? 1 : -1);
}
```
